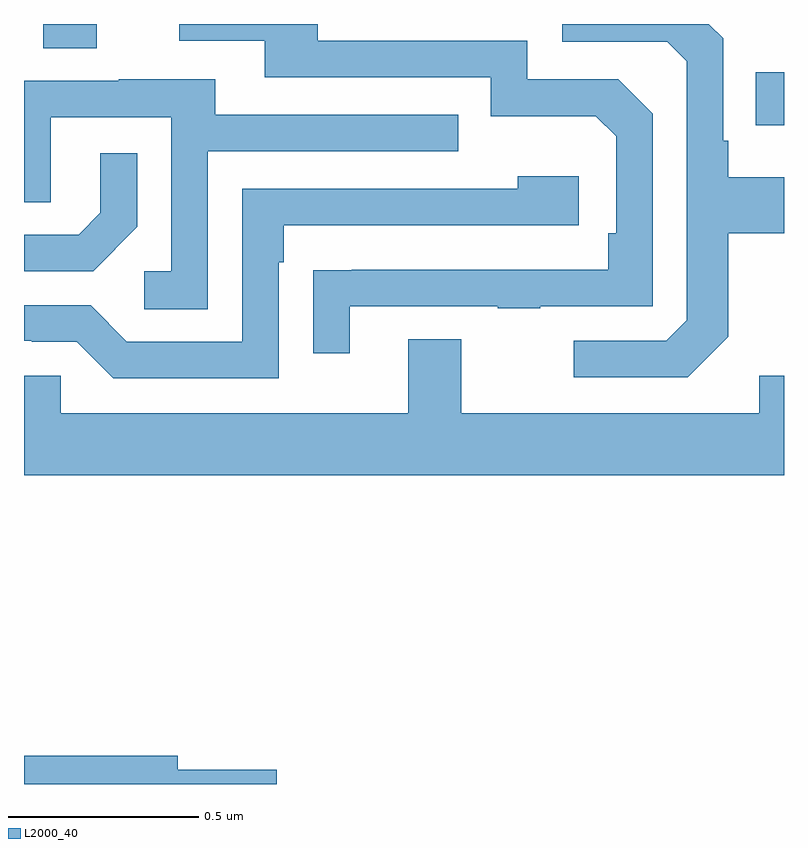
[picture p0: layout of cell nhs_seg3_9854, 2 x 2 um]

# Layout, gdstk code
import gdstk
lib = gdstk.Library(unit=1e-6, precision=1e-09)
def R(c, l, rs):  # rectangles x0, y0, x1, y1
    for r in rs: c.add(gdstk.rectangle(r[:2], r[2:], *l))
def P(c, l, *ps):  # polygons
    for p in ps: c.add(gdstk.Polygon(p, *l))
L2000_40 = (2000, 40)

nhs_seg3_9854 = lib.new_cell('nhs_seg3_9854')
R(nhs_seg3_9854, L2000_40, [(234.925,739.133,235,739.273), (233.051,739.336,233.191,739.4)])
P(nhs_seg3_9854, L2000_40, [(233.857,738.657),(234.247,738.657),(234.247,738.652),(234.359,738.652),(234.359,738.657),(234.654,738.657),(234.654,739.164),(234.564,739.254),(234.324,739.254),(234.324,739.356),(233.773,739.356),(233.773,739.4),(233.409,739.4),(233.409,739.356),(233.633,739.356),(233.633,739.26),(234.228,739.26),(234.228,739.157),(234.505,739.157),(234.558,739.104),(234.558,738.85),(234.538,738.85),(234.538,738.753),(233.863,738.753),(233.863,738.752),(233.761,738.752),(233.761,738.534),(233.857,738.534)],
  [(234.853,738.577),(234.853,738.85),(235,738.85),(235,738.997),(234.853,738.997),(234.853,739.093),(234.84,739.093),(234.84,739.362),(234.802,739.4),(234.417,739.4),(234.417,739.353),(234.693,739.353),(234.744,739.302),(234.744,738.621),(234.69,738.567),(234.447,738.567),(234.447,738.471),(234.747,738.471)],
  [(233.484,739.065),(234.143,739.065),(234.143,739.161),(233.503,739.161),(233.503,739.255),(233.249,739.255),(233.249,739.251),(233,739.251),(233,738.931),(233.07,738.931),(233.07,739.155),(233.388,739.155),(233.388,738.75),(233.316,738.75),(233.316,738.649),(233.484,738.649)],
  [(233.298,738.866),(233.298,739.06),(233.201,739.06),(233.201,738.903),(233.144,738.846),(233,738.846),(233,738.75),(233.182,738.75)],
  [(233.67,738.773),(233.683,738.773),(233.683,738.87),(234.46,738.87),(234.46,739),(234.299,739),(234.299,738.966),(233.574,738.966),(233.574,738.564),(233.271,738.564),(233.175,738.66),(233,738.66),(233,738.567),(233.021,738.567),(233.021,738.564),(233.139,738.564),(233.235,738.468),(233.67,738.468)],
  [(235,738.475),(234.935,738.475),(234.935,738.376),(234.151,738.376),(234.151,738.571),(234.011,738.571),(234.011,738.376),(233.097,738.376),(233.097,738.474),(233,738.474),(233,738.212),(235,738.212)],
  [(233.665,737.438),(233.404,737.438),(233.404,737.474),(233,737.474),(233,737.4),(233.665,737.4)])

lib.write_gds('nhs_seg3_9854.gds')
